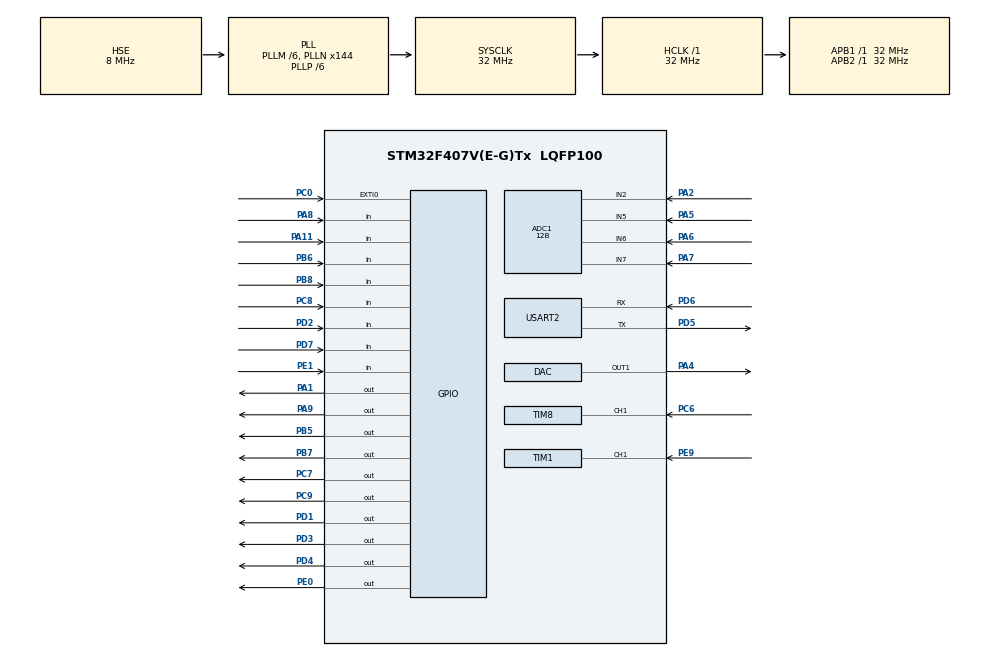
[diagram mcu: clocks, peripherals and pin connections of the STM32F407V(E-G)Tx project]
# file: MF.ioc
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ADC1.Channel-0\#ChannelRegularConversion=ADC_CHANNEL_2
ADC1.Channel-1\#ChannelRegularConversion=ADC_CHANNEL_5
ADC1.Channel-2\#ChannelRegularConversion=ADC_CHANNEL_6
ADC1.Channel-3\#ChannelRegularConversion=ADC_CHANNEL_7
ADC1.ClockPrescaler=ADC_CLOCK_SYNC_PCLK_DIV8
ADC1.ContinuousConvMode=ENABLE
ADC1.DMAContinuousRequests=ENABLE
ADC1.DataAlign=ADC_DATAALIGN_RIGHT
ADC1.DiscontinuousConvMode=DISABLE
ADC1.EOCSelection=ADC_EOC_SINGLE_CONV
ADC1.EnableAnalogWatchDog=false
ADC1.ExternalTrigConv=ADC_SOFTWARE_START
ADC1.ExternalTrigConvEdge=ADC_EXTERNALTRIGCONVEDGE_NONE
ADC1.InjNumberOfConversion=0
ADC1.NbrOfConversion=4
ADC1.NbrOfConversionFlag=1
ADC1.Rank-0\#ChannelRegularConversion=1
ADC1.Rank-1\#ChannelRegularConversion=2
ADC1.Rank-2\#ChannelRegularConversion=3
ADC1.Rank-3\#ChannelRegularConversion=4
ADC1.Resolution=ADC_RESOLUTION_12B
ADC1.SamplingTime-0\#ChannelRegularConversion=ADC_SAMPLETIME_480CYCLES
ADC1.SamplingTime-1\#ChannelRegularConversion=ADC_SAMPLETIME_480CYCLES
ADC1.SamplingTime-2\#ChannelRegularConversion=ADC_SAMPLETIME_480CYCLES
ADC1.SamplingTime-3\#ChannelRegularConversion=ADC_SAMPLETIME_480CYCLES
ADC1.ScanConvMode=ENABLE
ADC1.master=1
Dma.ADC1.0.Direction=DMA_PERIPH_TO_MEMORY
Dma.ADC1.0.FIFOMode=DMA_FIFOMODE_DISABLE
Dma.ADC1.0.Instance=DMA2_Stream0
Dma.ADC1.0.MemDataAlignment=DMA_MDATAALIGN_WORD
Dma.ADC1.0.MemInc=DMA_MINC_ENABLE
Dma.ADC1.0.Mode=DMA_CIRCULAR
Dma.ADC1.0.PeriphDataAlignment=DMA_PDATAALIGN_WORD
Dma.ADC1.0.PeriphInc=DMA_PINC_DISABLE
Dma.ADC1.0.Priority=DMA_PRIORITY_HIGH
Dma.Request0=ADC1
IWDG.Prescaler=IWDG_PRESCALER_64
IWDG.Reload=2500
Mcu.Family=STM32F4
Mcu.Name=STM32F407V(E-G)Tx
Mcu.Package=LQFP100
NVIC.DMA2_Stream0_IRQn=true\:2\:0\:true\:true\:true\:6
NVIC.EXTI0_IRQn=true\:1\:0\:true\:true\:true\:1
NVIC.PriorityGroup=NVIC_PRIORITYGROUP_2
NVIC.RTC_WKUP_IRQn=true\:2\:0\:true\:true\:true\:2
NVIC.TIM4_IRQn=true\:2\:0\:true\:true\:true\:3
NVIC.TIM5_IRQn=true\:2\:0\:true\:true\:true\:5
NVIC.USART2_IRQn=true\:2\:0\:true\:true\:true\:4
PA1.Signal=GPIO_Output
PA11.Signal=GPIO_Input
PA2.Signal=ADCx_IN2
PA4.Signal=COMP_DAC1_group
PA5.Signal=ADCx_IN5
PA6.Signal=ADCx_IN6
PA7.Signal=ADCx_IN7
PA8.Signal=GPIO_Input
PA9.Signal=GPIO_Output
PB5.Signal=GPIO_Output
PB6.Signal=GPIO_Input
PB7.Signal=GPIO_Output
PB8.Signal=GPIO_Input
PC0.GPIO_ModeDefaultEXTI=GPIO_MODE_IT_FALLING
PC0.Signal=GPXTI0
PC14-OSC32_IN.Mode=LSE-External-Oscillator
PC14-OSC32_IN.Signal=RCC_OSC32_IN
PC15-OSC32_OUT.Mode=LSE-External-Oscillator
PC15-OSC32_OUT.Signal=RCC_OSC32_OUT
PC6.Signal=S_TIM8_CH1
PC7.Signal=GPIO_Output
PC8.Signal=GPIO_Input
PC9.Signal=GPIO_Output
PD1.Signal=GPIO_Output
PD2.Signal=GPIO_Input
PD3.Signal=GPIO_Output
PD4.GPIO_PuPd=GPIO_NOPULL
PD4.GPIO_Speed=GPIO_SPEED_FREQ_HIGH
PD4.Signal=GPIO_Output
PD5.Mode=Asynchronous
PD5.Signal=USART2_TX
PD6.Mode=Asynchronous
PD6.Signal=USART2_RX
PD7.Signal=GPIO_Input
PE0.Signal=GPIO_Output
PE1.Signal=GPIO_Input
PE9.Signal=S_TIM1_CH1
PH0-OSC_IN.Mode=HSE-External-Oscillator
PH0-OSC_IN.Signal=RCC_OSC_IN
PH1-OSC_OUT.Mode=HSE-External-Oscillator
PH1-OSC_OUT.Signal=RCC_OSC_OUT
ProjectManager.HeapSize=0x200
ProjectManager.StackSize=0x400
ProjectManager.TargetToolchain=EWARM
RCC.48MHZClocksFreq_Value=48000000
RCC.AHBFreq_Value=32000000
RCC.APB1Freq_Value=32000000
RCC.APB1TimFreq_Value=32000000
RCC.APB2Freq_Value=32000000
RCC.APB2TimFreq_Value=32000000
RCC.CortexFreq_Value=32000000
RCC.HCLKFreq_Value=32000000
RCC.HSE_VALUE=8000000
RCC.HSI_VALUE=16000000
RCC.PLLM=6
RCC.PLLN=144
RCC.PLLP=RCC_PLLP_DIV6
RCC.PLLSourceVirtual=RCC_PLLSOURCE_HSE
RCC.RCC_RTC_Clock_Source=RCC_RTCCLKSOURCE_LSE
RCC.RCC_RTC_Clock_SourceVirtual=RCC_RTCCLKSOURCE_LSE
RCC.SYSCLKFreq_VALUE=32000000
RCC.SYSCLKSource=RCC_SYSCLKSOURCE_PLLCLK
RCC.VCOOutputFreq_Value=192000000
RTC.WakeUpClock=RTC_WAKEUPCLOCK_CK_SPRE_16BITS
SH.ADCx_IN2.0=ADC1_IN2,IN2
SH.ADCx_IN5.0=ADC1_IN5,IN5
SH.ADCx_IN6.0=ADC1_IN6,IN6
SH.ADCx_IN7.0=ADC1_IN7,IN7
SH.COMP_DAC1_group.0=DAC_OUT1,DAC_OUT1
SH.S_TIM1_CH1.0=TIM1_CH1,Input_Capture1_from_TI1
SH.S_TIM1_CH1.1=TIM1_CH1,TriggerSource_TI1FP1
SH.S_TIM8_CH1.0=TIM8_CH1,Input_Capture1_from_TI1
SH.S_TIM8_CH1.1=TIM8_CH1,TriggerSource_TI1FP1
TIM1.ICPolarity_CH1=TIM_INPUTCHANNELPOLARITY_FALLING
TIM1.Period=65535
TIM1.Prescaler=128
TIM1.TIM_MasterOutputTrigger=TIM_TRGO_RESET
TIM1.TIM_MasterSlaveMode=TIM_MASTERSLAVEMODE_DISABLE
TIM8.ICPolarity_CH1=TIM_INPUTCHANNELPOLARITY_FALLING
TIM8.Period=65535
TIM8.Prescaler=128
VP_IWDG_VS_IWDG.Mode=IWDG_Activate
VP_RTC_VS_RTC_Activate.Mode=RTC_Enabled
VP_RTC_VS_RTC_Calendar.Mode=RTC_Calendar
VP_RTC_VS_RTC_WakeUp_intern.Mode=WakeUp
VP_TIM1_VS_ControllerModeReset.Mode=Reset Mode
VP_TIM4_VS_ClockSourceINT.Mode=Internal
VP_TIM5_VS_ClockSourceINT.Mode=Internal
VP_TIM8_VS_ControllerModeReset.Mode=Reset Mode
board=MF

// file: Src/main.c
/**
  ******************************************************************************
  * File Name          : main.c
  * Description        : Main program body
  ******************************************************************************
  *
  * COPYRIGHT(c) 2017 STMicroelectronics
  *
  * Redistribution and use in source and binary forms, with or without modification,
  * are permitted provided that the following conditions are met:
  *   1. Redistributions of source code must retain the above copyright notice,
  *      this list of conditions and the following disclaimer.
  *   2. Redistributions in binary form must reproduce the above copyright notice,
  *      this list of conditions and the following disclaimer in the documentation
  *      and/or other materials provided with the distribution.
  *   3. Neither the name of STMicroelectronics nor the names of its contributors
  *      may be used to endorse or promote products derived from this software
  *      without specific prior written permission.
  *
  * THIS SOFTWARE IS PROVIDED BY THE COPYRIGHT HOLDERS AND CONTRIBUTORS "AS IS"
  * AND ANY EXPRESS OR IMPLIED WARRANTIES, INCLUDING, BUT NOT LIMITED TO, THE
  * IMPLIED WARRANTIES OF MERCHANTABILITY AND FITNESS FOR A PARTICULAR PURPOSE ARE
  * DISCLAIMED. IN NO EVENT SHALL THE COPYRIGHT HOLDER OR CONTRIBUTORS BE LIABLE
  * FOR ANY DIRECT, INDIRECT, INCIDENTAL, SPECIAL, EXEMPLARY, OR CONSEQUENTIAL
  * DAMAGES (INCLUDING, BUT NOT LIMITED TO, PROCUREMENT OF SUBSTITUTE GOODS OR
  * SERVICES; LOSS OF USE, DATA, OR PROFITS; OR BUSINESS INTERRUPTION) HOWEVER
  * CAUSED AND ON ANY THEORY OF LIABILITY, WHETHER IN CONTRACT, STRICT LIABILITY,
  * OR TORT (INCLUDING NEGLIGENCE OR OTHERWISE) ARISING IN ANY WAY OUT OF THE USE
  * OF THIS SOFTWARE, EVEN IF ADVISED OF THE POSSIBILITY OF SUCH DAMAGE.
  *
  ******************************************************************************
  */
#include "main.h"
#include "stm32f4xx_hal.h"

/* USER CODE BEGIN Includes */
#include "Modbus.h"
/* USER CODE END Includes */

ADC_HandleTypeDef hadc1;
DMA_HandleTypeDef hdma_adc1;

DAC_HandleTypeDef hdac;

IWDG_HandleTypeDef hiwdg;

RTC_HandleTypeDef hrtc;

TIM_HandleTypeDef htim1;
TIM_HandleTypeDef htim4;
TIM_HandleTypeDef htim5;
TIM_HandleTypeDef htim8;

UART_HandleTypeDef huart2;

/* USER CODE BEGIN PV */
/* Private variables ---------------------------------------------------------*/
extern USHORT usRegInputBuf[];
extern UCHAR  usRegDiscreteInput;
extern USHORT usRegHoldingBuf[];

uint32_t MotoTime1,MotoTime2,OperTime;
uint32_t  ActiveSecAdr;
uint16_t Counts[NumCount];
uint8_t  flag_ovf,WriteTimeEn=0;
uint16_t ADCValue[ADCNUMCH];
float X[NUMPARAM][3],Y[NUMPARAM][3];
uint8_t SysReset=RESET;

/* USER CODE END PV */

void SystemClock_Config(void);
void Error_Handler(void);
static void MX_GPIO_Init(void);
static void MX_DMA_Init(void);
static void MX_RTC_Init(void);
static void MX_USART2_UART_Init(void);
static void MX_TIM4_Init(void);
static void MX_TIM1_Init(void);
static void MX_TIM8_Init(void);
static void MX_ADC1_Init(void);
static void MX_DAC_Init(void);
static void MX_TIM5_Init(void);
static void MX_IWDG_Init(void);
static void MX_NVIC_Init(void);

/* USER CODE BEGIN PFP */
/* Private function prototypes -----------------------------------------------*/
uint32_t FLASHRead(uint32_t address);
void FLASHTimeRead(void);
void FLASHHOLDWrite(uint16_t *data);
void FLASHTimeWrite(void);

void TimeControlInit(void);
void DMAADC_Init(void);
uint16_t Filter (uint16_t unfiltered,uint16_t CHFilter);
/* USER CODE END PFP */

/* USER CODE BEGIN 0 */
unsigned short GetConvertmV(unsigned short ADCVal)
{
  #define REFVal  0.61035// 2500/4096 Reference value (mV/ADC)
  #define RESDiv 13.13334//(910+75)/75 Resistor divider
  float temp=(float)ADCVal;
  temp*=REFVal;
  temp*=RESDiv;

  return (unsigned short)temp;
}

 /* Convert ADC ampermeter to A*10E-4. */
unsigned short GetConvertA(unsigned short ADCVal,uint16_t uOhm)
{
  #define REFVal  0.61035// 2500/4096 Reference value (mV/ADC)
  #define GAmp  2// GAIN Amp
  float temp=(float)ADCVal,mOhm=(float)uOhm;
  mOhm/=1000;
  temp*=REFVal;
  temp/=GAmp;
  if(uOhm==0) return 0;
  temp/=mOhm;
  if(temp>MAXVALUE) temp=MAXVALUE;

 /*
  switch (Typ){
  case 1:       temp=temp/5;         break;//Type shunt 10A 50mV
  case 2:       temp=(temp*8)/5;     break;//Type shunt 80A 50mV
  default:                           break;//Type shunt 50A 50mV
  }
  */
  return (unsigned short)temp;
}

uint16_t rounding(uint16_t value)
{
  value+=25;//average 25 mV
  value/=50;
  value*=50;
  return value;
}

/* USER CODE END 0 */

int main(void)
{

  /* USER CODE BEGIN 1 */
  const UCHAR     ucSlaveID[] = { 0xAA, 0xBB, 0xCC };
  eMBErrorCode    eStatus;
  uint8_t RKIConf=0;//All RK in Push-down default
  uint32_t TimeOutRPM1 = TIMEOUTRPM;
  uint32_t TimeOutRPM2 = TIMEOUTRPM;
  uint16_t dHZ1Value = 0, dHZ2Value = 0;
  uint16_t RPM1Value = 0, RPM2Value = 0;
  /* USER CODE END 1 */

  /* MCU Configuration----------------------------------------------------------*/

  /* Reset of all peripherals, Initializes the Flash interface and the Systick. */
  HAL_Init();

  /* Configure the system clock */
  SystemClock_Config();

  /* Initialize all configured peripherals */
  MX_GPIO_Init();
  MX_DMA_Init();
  MX_RTC_Init();
  MX_USART2_UART_Init();
  MX_TIM4_Init();
  MX_TIM1_Init();
  MX_TIM8_Init();
  MX_ADC1_Init();
  MX_DAC_Init();
  MX_TIM5_Init();
  MX_IWDG_Init();

  /* Initialize interrupts */
  MX_NVIC_Init();

  /* USER CODE BEGIN 2 */
  LedON();

  ReadParam();
  FLASHTimeRead();
  eStatus = eMBInit( MB_RTU, MBAdressDefault, 0,
            MBSpeedDefault*100,
            MBParityDefault );
  eStatus = eMBSetSlaveID( 0x34, TRUE, ucSlaveID, 3 );

  TimeControlInit();

  RKIConf=(uint8_t)usRegHoldingBuf[REG_HOLDING_RKICONFIG];
  RKInit(RKIConf);
  HAL_TIM_IC_Init(&TIMRPM1);
  HAL_TIM_IC_Init(&TIMRPM2);
  /* USER CODE END 2 */

  /* Infinite loop */
  /* USER CODE BEGIN WHILE */
  eStatus = eMBEnable(  );
  HAL_TIM_IC_Start (&TIMRPM1, TIM_CHANNEL_1);
  HAL_TIM_IC_Start (&TIMRPM2, TIM_CHANNEL_1);
  __HAL_TIM_URS_ENABLE(&TIMRPM1);
  __HAL_TIM_URS_ENABLE(&TIMRPM2);

  DMAADC_Init();
  HAL_ADC_Start_DMA(&hadc1, (uint32_t*)&ADCValue, ADCNUMCH);
  set_time(TIME_DEFFERWRITE,500);
  usRegInputBuf[REG_INPUT_STATUS]=0x03FF;//0b0000 0011 1111 1111

  while (1)
  {

    ( void )eMBPoll(  );
    HAL_IWDG_Refresh(&hiwdg);
    usRegDiscreteInput=RKRead(RKIConf);
    RPM1Value=PRMRead(TIMRPM1,&dHZ1Value,&TimeOutRPM1,usRegHoldingBuf[REG_HOLDING_DIVRPM1]);
    RPM2Value=PRMRead(TIMRPM2,&dHZ2Value,&TimeOutRPM2,usRegHoldingBuf[REG_HOLDING_DIVRPM2]);

    if(time_ovf(TIME_FILTER)){
      set_time(TIME_FILTER,3);
      usRegInputBuf[REG_INPUT_V1]=rounding(Filter(GetConvertmV(ADCValue[ADCCHV1]),FilV1));
      usRegInputBuf[REG_INPUT_V2]=rounding(Filter(GetConvertmV(ADCValue[ADCCHV2]),FilV2));
      usRegInputBuf[REG_INPUT_A1]=Filter(GetConvertA(ADCValue[ADCCHA1],usRegHoldingBuf[REG_HOLDING_UOHMSHUNT1]),FilA1);
      usRegInputBuf[REG_INPUT_A2]=Filter(GetConvertA(ADCValue[ADCCHA2],usRegHoldingBuf[REG_HOLDING_UOHMSHUNT2]),FilA2);
    }

    if(time_ovf(TIME_FILTERRPM)){
      set_time(TIME_FILTERRPM,1);
      usRegInputBuf[REG_INPUT_RPM1]=Filter(RPM1Value,FILRPM1);
      usRegInputBuf[REG_INPUT_RPM2]=Filter(RPM2Value,FILRPM2);
    }

    usRegInputBuf[REG_INPUT_MOTOTIME1]=         (uint16_t) (MotoTime1>>16);
    usRegInputBuf[REG_INPUT_MOTOTIME1+1]=       (uint16_t) (MotoTime1);
    usRegInputBuf[REG_INPUT_MOTOTIME2]=         (uint16_t) (MotoTime2>>16);
    usRegInputBuf[REG_INPUT_MOTOTIME2+1]=       (uint16_t) (MotoTime2);
    usRegInputBuf[REG_INPUT_OPERTIME]=          (uint16_t) (OperTime>>16);
    usRegInputBuf[REG_INPUT_OPERTIME+1]=        (uint16_t) (OperTime);

    if(time_stopd(TIME_FILTER))         set_time(TIME_FILTER,3);
    if(time_stopd(TIME_FILTERRPM))      set_time(TIME_FILTERRPM,1);

    if(time_ovf(TIME_DEFFERWRITE)){
      clear_ovf(TIME_DEFFERWRITE);
      FLASHTimeWrite();
      WriteTimeEn=1;
    }
    if(SysReset==SET)
    {HAL_Delay(50); HAL_NVIC_SystemReset();}

    if(time_ovf(TIME_FLASHWRITE)){
      clear_ovf(TIME_FLASHWRITE);
      FLASHHOLDWrite((uint16_t*)&usRegHoldingBuf);
      HAL_NVIC_SystemReset();
    }

  /* USER CODE END WHILE */

  }

}

/** System Clock Configuration
*/
void SystemClock_Config(void)
{

  RCC_OscInitTypeDef RCC_OscInitStruct;
  RCC_ClkInitTypeDef RCC_ClkInitStruct;
  RCC_PeriphCLKInitTypeDef PeriphClkInitStruct;

    /**Configure the main internal regulator output voltage
    */
  __HAL_RCC_PWR_CLK_ENABLE();

  __HAL_PWR_VOLTAGESCALING_CONFIG(PWR_REGULATOR_VOLTAGE_SCALE1);

    /**Initializes the CPU, AHB and APB busses clocks
    */
  RCC_OscInitStruct.OscillatorType = RCC_OSCILLATORTYPE_LSI|RCC_OSCILLATORTYPE_HSE
                              |RCC_OSCILLATORTYPE_LSE;
  RCC_OscInitStruct.HSEState = RCC_HSE_ON;
  RCC_OscInitStruct.LSEState = RCC_LSE_ON;
  RCC_OscInitStruct.LSIState = RCC_LSI_ON;
  RCC_OscInitStruct.PLL.PLLState = RCC_PLL_ON;
  RCC_OscInitStruct.PLL.PLLSource = RCC_PLLSOURCE_HSE;
  RCC_OscInitStruct.PLL.PLLM = 6;
  RCC_OscInitStruct.PLL.PLLN = 144;
  RCC_OscInitStruct.PLL.PLLP = RCC_PLLP_DIV6;
  RCC_OscInitStruct.PLL.PLLQ = 4;
  if (HAL_RCC_OscConfig(&RCC_OscInitStruct) != HAL_OK)
  {
    Error_Handler();
  }

    /**Initializes the CPU, AHB and APB busses clocks
    */
  RCC_ClkInitStruct.ClockType = RCC_CLOCKTYPE_HCLK|RCC_CLOCKTYPE_SYSCLK
                              |RCC_CLOCKTYPE_PCLK1|RCC_CLOCKTYPE_PCLK2;
  RCC_ClkInitStruct.SYSCLKSource = RCC_SYSCLKSOURCE_PLLCLK;
  RCC_ClkInitStruct.AHBCLKDivider = RCC_SYSCLK_DIV1;
  RCC_ClkInitStruct.APB1CLKDivider = RCC_HCLK_DIV1;
  RCC_ClkInitStruct.APB2CLKDivider = RCC_HCLK_DIV1;

  if (HAL_RCC_ClockConfig(&RCC_ClkInitStruct, FLASH_LATENCY_1) != HAL_OK)
  {
    Error_Handler();
  }

  PeriphClkInitStruct.PeriphClockSelection = RCC_PERIPHCLK_RTC;
  PeriphClkInitStruct.RTCClockSelection = RCC_RTCCLKSOURCE_LSE;
  if (HAL_RCCEx_PeriphCLKConfig(&PeriphClkInitStruct) != HAL_OK)
  {
    Error_Handler();
  }

    /**Configure the Systick interrupt time
    */
  HAL_SYSTICK_Config(HAL_RCC_GetHCLKFreq()/1000);

    /**Configure the Systick
    */
  HAL_SYSTICK_CLKSourceConfig(SYSTICK_CLKSOURCE_HCLK);

  /* SysTick_IRQn interrupt configuration */
  HAL_NVIC_SetPriority(SysTick_IRQn, 0, 0);
}

/** NVIC Configuration
*/
static void MX_NVIC_Init(void)
{
  /* EXTI0_IRQn interrupt configuration */
  HAL_NVIC_SetPriority(EXTI0_IRQn, 1, 0);
  HAL_NVIC_EnableIRQ(EXTI0_IRQn);
  /* RTC_WKUP_IRQn interrupt configuration */
  HAL_NVIC_SetPriority(RTC_WKUP_IRQn, 2, 0);
  HAL_NVIC_EnableIRQ(RTC_WKUP_IRQn);
  /* TIM4_IRQn interrupt configuration */
  HAL_NVIC_SetPriority(TIM4_IRQn, 2, 0);
  HAL_NVIC_EnableIRQ(TIM4_IRQn);
  /* USART2_IRQn interrupt configuration */
  HAL_NVIC_SetPriority(USART2_IRQn, 2, 0);
  HAL_NVIC_EnableIRQ(USART2_IRQn);
  /* TIM5_IRQn interrupt configuration */
  HAL_NVIC_SetPriority(TIM5_IRQn, 2, 0);
  HAL_NVIC_EnableIRQ(TIM5_IRQn);
  /* DMA2_Stream0_IRQn interrupt configuration */
  HAL_NVIC_SetPriority(DMA2_Stream0_IRQn, 2, 0);
  HAL_NVIC_EnableIRQ(DMA2_Stream0_IRQn);
}

/* ADC1 init function */
static void MX_ADC1_Init(void)
{

  ADC_ChannelConfTypeDef sConfig;

    /**Configure the global features of the ADC (Clock, Resolution, Data Alignment and number of conversion)
    */
  hadc1.Instance = ADC1;
  hadc1.Init.ClockPrescaler = ADC_CLOCK_SYNC_PCLK_DIV8;
  hadc1.Init.Resolution = ADC_RESOLUTION_12B;
  hadc1.Init.ScanConvMode = ENABLE;
  hadc1.Init.ContinuousConvMode = ENABLE;
  hadc1.Init.DiscontinuousConvMode = DISABLE;
  hadc1.Init.ExternalTrigConvEdge = ADC_EXTERNALTRIGCONVEDGE_NONE;
  hadc1.Init.ExternalTrigConv = ADC_SOFTWARE_START;
  hadc1.Init.DataAlign = ADC_DATAALIGN_RIGHT;
  hadc1.Init.NbrOfConversion = 4;
  hadc1.Init.DMAContinuousRequests = ENABLE;
  hadc1.Init.EOCSelection = ADC_EOC_SINGLE_CONV;
  if (HAL_ADC_Init(&hadc1) != HAL_OK)
  {
    Error_Handler();
  }

    /**Configure for the selected ADC regular channel its corresponding rank in the sequencer and its sample time.
    */
  sConfig.Channel = ADC_CHANNEL_2;
  sConfig.Rank = 1;
  sConfig.SamplingTime = ADC_SAMPLETIME_480CYCLES;
  if (HAL_ADC_ConfigChannel(&hadc1, &sConfig) != HAL_OK)
  {
    Error_Handler();
  }

    /**Configure for the selected ADC regular channel its corresponding rank in the sequencer and its sample time.
    */
  sConfig.Channel = ADC_CHANNEL_5;
  sConfig.Rank = 2;
  if (HAL_ADC_ConfigChannel(&hadc1, &sConfig) != HAL_OK)
  {
    Error_Handler();
  }

    /**Configure for the selected ADC regular channel its corresponding rank in the sequencer and its sample time.
    */
  sConfig.Channel = ADC_CHANNEL_6;
  sConfig.Rank = 3;
  if (HAL_ADC_ConfigChannel(&hadc1, &sConfig) != HAL_OK)
  {
    Error_Handler();
  }

    /**Configure for the selected ADC regular channel its corresponding rank in the sequencer and its sample time.
    */
  sConfig.Channel = ADC_CHANNEL_7;
  sConfig.Rank = 4;
  if (HAL_ADC_ConfigChannel(&hadc1, &sConfig) != HAL_OK)
  {
    Error_Handler();
  }

}

/* DAC init function */
static void MX_DAC_Init(void)
{

  DAC_ChannelConfTypeDef sConfig;

    /**DAC Initialization
    */
  hdac.Instance = DAC;
  if (HAL_DAC_Init(&hdac) != HAL_OK)
  {
    Error_Handler();
  }

    /**DAC channel OUT1 config
    */
  sConfig.DAC_Trigger = DAC_TRIGGER_NONE;
  sConfig.DAC_OutputBuffer = DAC_OUTPUTBUFFER_ENABLE;
  if (HAL_DAC_ConfigChannel(&hdac, &sConfig, DAC_CHANNEL_1) != HAL_OK)
  {
    Error_Handler();
  }

}

/* IWDG init function */
static void MX_IWDG_Init(void)
{

  hiwdg.Instance = IWDG;
  hiwdg.Init.Prescaler = IWDG_PRESCALER_64;
  hiwdg.Init.Reload = 2500;
  if (HAL_IWDG_Init(&hiwdg) != HAL_OK)
  {
    Error_Handler();
  }

}

/* RTC init function */
static void MX_RTC_Init(void)
{

  RTC_TimeTypeDef sTime;
  RTC_DateTypeDef sDate;

    /**Initialize RTC Only
    */
  hrtc.Instance = RTC;
  hrtc.Init.HourFormat = RTC_HOURFORMAT_24;
  hrtc.Init.AsynchPrediv = 127;
  hrtc.Init.SynchPrediv = 255;
  hrtc.Init.OutPut = RTC_OUTPUT_DISABLE;
  hrtc.Init.OutPutPolarity = RTC_OUTPUT_POLARITY_HIGH;
  hrtc.Init.OutPutType = RTC_OUTPUT_TYPE_OPENDRAIN;
  if (HAL_RTC_Init(&hrtc) != HAL_OK)
  {
    Error_Handler();
  }

    /**Initialize RTC and set the Time and Date
    */
  sTime.Hours = 0x0;
  sTime.Minutes = 0x0;
  sTime.Seconds = 0x0;
  sTime.DayLightSaving = RTC_DAYLIGHTSAVING_NONE;
  sTime.StoreOperation = RTC_STOREOPERATION_RESET;
  if (HAL_RTC_SetTime(&hrtc, &sTime, RTC_FORMAT_BCD) != HAL_OK)
  {
    Error_Handler();
  }

  sDate.WeekDay = RTC_WEEKDAY_MONDAY;
  sDate.Month = RTC_MONTH_JANUARY;
  sDate.Date = 0x1;
  sDate.Year = 0x0;

  if (HAL_RTC_SetDate(&hrtc, &sDate, RTC_FORMAT_BCD) != HAL_OK)
  {
    Error_Handler();
  }

    /**Enable the WakeUp
    */
  if (HAL_RTCEx_SetWakeUpTimer_IT(&hrtc, 0, RTC_WAKEUPCLOCK_CK_SPRE_16BITS) != HAL_OK)
  {
    Error_Handler();
  }

}

/* TIM1 init function */
static void MX_TIM1_Init(void)
{

  TIM_SlaveConfigTypeDef sSlaveConfig;
  TIM_MasterConfigTypeDef sMasterConfig;
  TIM_IC_InitTypeDef sConfigIC;

  htim1.Instance = TIM1;
  htim1.Init.Prescaler = 128;
  htim1.Init.CounterMode = TIM_COUNTERMODE_UP;
  htim1.Init.Period = 65535;
  htim1.Init.ClockDivision = TIM_CLOCKDIVISION_DIV1;
  htim1.Init.RepetitionCounter = 0;
  if (HAL_TIM_Base_Init(&htim1) != HAL_OK)
  {
    Error_Handler();
  }

  if (HAL_TIM_IC_Init(&htim1) != HAL_OK)
  {
    Error_Handler();
  }

  sSlaveConfig.SlaveMode = TIM_SLAVEMODE_RESET;
  sSlaveConfig.InputTrigger = TIM_TS_TI1FP1;
  sSlaveConfig.TriggerPolarity = TIM_INPUTCHANNELPOLARITY_FALLING;
  sSlaveConfig.TriggerFilter = 0;
  if (HAL_TIM_SlaveConfigSynchronization(&htim1, &sSlaveConfig) != HAL_OK)
  {
    Error_Handler();
  }

  sMasterConfig.MasterOutputTrigger = TIM_TRGO_RESET;
  sMasterConfig.MasterSlaveMode = TIM_MASTERSLAVEMODE_DISABLE;
  if (HAL_TIMEx_MasterConfigSynchronization(&htim1, &sMasterConfig) != HAL_OK)
  {
    Error_Handler();
  }

  sConfigIC.ICPolarity = TIM_INPUTCHANNELPOLARITY_FALLING;
  sConfigIC.ICSelection = TIM_ICSELECTION_DIRECTTI;
  sConfigIC.ICPrescaler = TIM_ICPSC_DIV1;
  sConfigIC.ICFilter = 0;
  if (HAL_TIM_IC_ConfigChannel(&htim1, &sConfigIC, TIM_CHANNEL_1) != HAL_OK)
  {
    Error_Handler();
  }

}

/* TIM4 init function */
static void MX_TIM4_Init(void)
{

  TIM_ClockConfigTypeDef sClockSourceConfig;
  TIM_MasterConfigTypeDef sMasterConfig;

  htim4.Instance = TIM4;
  htim4.Init.Prescaler = 0;
  htim4.Init.CounterMode = TIM_COUNTERMODE_UP;
  htim4.Init.Period = 0;
  htim4.Init.ClockDivision = TIM_CLOCKDIVISION_DIV1;
  if (HAL_TIM_Base_Init(&htim4) != HAL_OK)
  {
    Error_Handler();
  }

  sClockSourceConfig.ClockSource = TIM_CLOCKSOURCE_INTERNAL;
  if (HAL_TIM_ConfigClockSource(&htim4, &sClockSourceConfig) != HAL_OK)
  {
    Error_Handler();
  }

  sMasterConfig.MasterOutputTrigger = TIM_TRGO_RESET;
  sMasterConfig.MasterSlaveMode = TIM_MASTERSLAVEMODE_DISABLE;
  if (HAL_TIMEx_MasterConfigSynchronization(&htim4, &sMasterConfig) != HAL_OK)
  {
    Error_Handler();
  }

}

/* TIM5 init function */
static void MX_TIM5_Init(void)
{

  TIM_ClockConfigTypeDef sClockSourceConfig;
  TIM_MasterConfigTypeDef sMasterConfig;

  htim5.Instance = TIM5;
  htim5.Init.Prescaler = 0;
  htim5.Init.CounterMode = TIM_COUNTERMODE_UP;
  htim5.Init.Period = 0;
  htim5.Init.ClockDivision = TIM_CLOCKDIVISION_DIV1;
  if (HAL_TIM_Base_Init(&htim5) != HAL_OK)
  {
    Error_Handler();
  }

  sClockSourceConfig.ClockSource = TIM_CLOCKSOURCE_INTERNAL;
  if (HAL_TIM_ConfigClockSource(&htim5, &sClockSourceConfig) != HAL_OK)
  {
    Error_Handler();
  }

  sMasterConfig.MasterOutputTrigger = TIM_TRGO_RESET;
  sMasterConfig.MasterSlaveMode = TIM_MASTERSLAVEMODE_DISABLE;
  if (HAL_TIMEx_MasterConfigSynchronization(&htim5, &sMasterConfig) != HAL_OK)
  {
    Error_Handler();
  }

}

/* TIM8 init function */
static void MX_TIM8_Init(void)
{

  TIM_SlaveConfigTypeDef sSlaveConfig;
  TIM_MasterConfigTypeDef sMasterConfig;
  TIM_IC_InitTypeDef sConfigIC;

  htim8.Instance = TIM8;
  htim8.Init.Prescaler = 128;
  htim8.Init.CounterMode = TIM_COUNTERMODE_UP;
  htim8.Init.Period = 65535;
  htim8.Init.ClockDivision = TIM_CLOCKDIVISION_DIV1;
  htim8.Init.RepetitionCounter = 0;
  if (HAL_TIM_Base_Init(&htim8) != HAL_OK)
  {
    Error_Handler();
  }

  if (HAL_TIM_IC_Init(&htim8) != HAL_OK)
  {
    Error_Handler();
  }

  sSlaveConfig.SlaveMode = TIM_SLAVEMODE_RESET;
  sSlaveConfig.InputTrigger = TIM_TS_TI1FP1;
  sSlaveConfig.TriggerPolarity = TIM_INPUTCHANNELPOLARITY_FALLING;
  sSlaveConfig.TriggerFilter = 0;
  if (HAL_TIM_SlaveConfigSynchronization(&htim8, &sSlaveConfig) != HAL_OK)
  {
    Error_Handler();
  }

  sMasterConfig.MasterOutputTrigger = TIM_TRGO_RESET;
  sMasterConfig.MasterSlaveMode = TIM_MASTERSLAVEMODE_DISABLE;
  if (HAL_TIMEx_MasterConfigSynchronization(&htim8, &sMasterConfig) != HAL_OK)
  {
    Error_Handler();
  }

  sConfigIC.ICPolarity = TIM_INPUTCHANNELPOLARITY_FALLING;
  sConfigIC.ICSelection = TIM_ICSELECTION_DIRECTTI;
  sConfigIC.ICPrescaler = TIM_ICPSC_DIV1;
  sConfigIC.ICFilter = 0;
  if (HAL_TIM_IC_ConfigChannel(&htim8, &sConfigIC, TIM_CHANNEL_1) != HAL_OK)
  {
    Error_Handler();
  }

}

/* USART2 init function */
static void MX_USART2_UART_Init(void)
{

  huart2.Instance = USART2;
  huart2.Init.BaudRate = 115200;
  huart2.Init.WordLength = UART_WORDLENGTH_8B;
  huart2.Init.StopBits = UART_STOPBITS_1;
  huart2.Init.Parity = UART_PARITY_NONE;
  huart2.Init.Mode = UART_MODE_TX_RX;
  huart2.Init.HwFlowCtl = UART_HWCONTROL_NONE;
  huart2.Init.OverSampling = UART_OVERSAMPLING_16;
  if (HAL_UART_Init(&huart2) != HAL_OK)
  {
    Error_Handler();
  }

}

static void MX_DMA_Init(void)
{
  /* DMA controller clock enable */
  __HAL_RCC_DMA2_CLK_ENABLE();

}

/** Configure pins as
        * Analog
        * Input
        * Output
        * EVENT_OUT
        * EXTI
*/
static void MX_GPIO_Init(void)
{

  GPIO_InitTypeDef GPIO_InitStruct;

  /* GPIO Ports Clock Enable */
  __HAL_RCC_GPIOC_CLK_ENABLE();
  __HAL_RCC_GPIOH_CLK_ENABLE();
  __HAL_RCC_GPIOA_CLK_ENABLE();
  __HAL_RCC_GPIOE_CLK_ENABLE();
  __HAL_RCC_GPIOD_CLK_ENABLE();
  __HAL_RCC_GPIOB_CLK_ENABLE();

  /*Configure GPIO pin Output Level */
  HAL_GPIO_WritePin(GPIOA, GPIO_PIN_1|GPIO_PIN_9, GPIO_PIN_RESET);

  /*Configure GPIO pin Output Level */
  HAL_GPIO_WritePin(GPIOC, GPIO_PIN_7|GPIO_PIN_9, GPIO_PIN_RESET);

  /*Configure GPIO pin Output Level */
  HAL_GPIO_WritePin(GPIOD, GPIO_PIN_1|GPIO_PIN_3|GPIO_PIN_4, GPIO_PIN_RESET);

  /*Configure GPIO pin Output Level */
  HAL_GPIO_WritePin(GPIOB, GPIO_PIN_5|GPIO_PIN_7, GPIO_PIN_RESET);

  /*Configure GPIO pin Output Level */
  HAL_GPIO_WritePin(GPIOE, GPIO_PIN_0, GPIO_PIN_RESET);

  /*Configure GPIO pin : PC0 */
  GPIO_InitStruct.Pin = GPIO_PIN_0;
  GPIO_InitStruct.Mode = GPIO_MODE_IT_FALLING;
  GPIO_InitStruct.Pull = GPIO_NOPULL;
  HAL_GPIO_Init(GPIOC, &GPIO_InitStruct);

  /*Configure GPIO pins : PA1 PA9 */
  GPIO_InitStruct.Pin = GPIO_PIN_1|GPIO_PIN_9;
  GPIO_InitStruct.Mode = GPIO_MODE_OUTPUT_PP;
  GPIO_InitStruct.Pull = GPIO_NOPULL;
  GPIO_InitStruct.Speed = GPIO_SPEED_FREQ_LOW;
  HAL_GPIO_Init(GPIOA, &GPIO_InitStruct);

  /*Configure GPIO pins : PC7 PC9 */
  GPIO_InitStruct.Pin = GPIO_PIN_7|GPIO_PIN_9;
  GPIO_InitStruct.Mode = GPIO_MODE_OUTPUT_PP;
  GPIO_InitStruct.Pull = GPIO_NOPULL;
  GPIO_InitStruct.Speed = GPIO_SPEED_FREQ_LOW;
  HAL_GPIO_Init(GPIOC, &GPIO_InitStruct);

  /*Configure GPIO pin : PC8 */
  GPIO_InitStruct.Pin = GPIO_PIN_8;
  GPIO_InitStruct.Mode = GPIO_MODE_INPUT;
  GPIO_InitStruct.Pull = GPIO_NOPULL;
  HAL_GPIO_Init(GPIOC, &GPIO_InitStruct);

  /*Configure GPIO pins : PA8 PA11 */
  GPIO_InitStruct.Pin = GPIO_PIN_8|GPIO_PIN_11;
  GPIO_InitStruct.Mode = GPIO_MODE_INPUT;
  GPIO_InitStruct.Pull = GPIO_NOPULL;
  HAL_GPIO_Init(GPIOA, &GPIO_InitStruct);

  /*Configure GPIO pins : PD1 PD3 */
  GPIO_InitStruct.Pin = GPIO_PIN_1|GPIO_PIN_3;
  GPIO_InitStruct.Mode = GPIO_MODE_OUTPUT_PP;
  GPIO_InitStruct.Pull = GPIO_NOPULL;
  GPIO_InitStruct.Speed = GPIO_SPEED_FREQ_LOW;
  HAL_GPIO_Init(GPIOD, &GPIO_InitStruct);

  /*Configure GPIO pins : PD2 PD7 */
  GPIO_InitStruct.Pin = GPIO_PIN_2|GPIO_PIN_7;
  GPIO_InitStruct.Mode = GPIO_MODE_INPUT;
  GPIO_InitStruct.Pull = GPIO_NOPULL;
  HAL_GPIO_Init(GPIOD, &GPIO_InitStruct);

  /*Configure GPIO pin : PD4 */
  GPIO_InitStruct.Pin = GPIO_PIN_4;
  GPIO_InitStruct.Mode = GPIO_MODE_OUTPUT_PP;
  GPIO_InitStruct.Pull = GPIO_NOPULL;
  GPIO_InitStruct.Speed = GPIO_SPEED_FREQ_HIGH;
  HAL_GPIO_Init(GPIOD, &GPIO_InitStruct);

  /*Configure GPIO pins : PB5 PB7 */
  GPIO_InitStruct.Pin = GPIO_PIN_5|GPIO_PIN_7;
  GPIO_InitStruct.Mode = GPIO_MODE_OUTPUT_PP;
  GPIO_InitStruct.Pull = GPIO_NOPULL;
  GPIO_InitStruct.Speed = GPIO_SPEED_FREQ_LOW;
  HAL_GPIO_Init(GPIOB, &GPIO_InitStruct);

  /*Configure GPIO pins : PB6 PB8 */
  GPIO_InitStruct.Pin = GPIO_PIN_6|GPIO_PIN_8;
  GPIO_InitStruct.Mode = GPIO_MODE_INPUT;
  GPIO_InitStruct.Pull = GPIO_NOPULL;
  HAL_GPIO_Init(GPIOB, &GPIO_InitStruct);

  /*Configure GPIO pin : PE0 */
  GPIO_InitStruct.Pin = GPIO_PIN_0;
  GPIO_InitStruct.Mode = GPIO_MODE_OUTPUT_PP;
  GPIO_InitStruct.Pull = GPIO_NOPULL;
  GPIO_InitStruct.Speed = GPIO_SPEED_FREQ_LOW;
  HAL_GPIO_Init(GPIOE, &GPIO_InitStruct);

  /*Configure GPIO pin : PE1 */
  GPIO_InitStruct.Pin = GPIO_PIN_1;
  GPIO_InitStruct.Mode = GPIO_MODE_INPUT;
  GPIO_InitStruct.Pull = GPIO_NOPULL;
  HAL_GPIO_Init(GPIOE, &GPIO_InitStruct);

}

/* USER CODE BEGIN 4 */
uint32_t FLASHRead(uint32_t address) {return (*(__IO uint32_t*) address);}

void FLASHHOLDWrite(uint16_t *data)
{
  uint32_t SectorError = 0;
  uint32_t Address=FLASH_HOLD_START_ADDR;
  /*Variable used for Erase procedure*/

  static FLASH_EraseInitTypeDef EraseInitStruct;
  /* Unlock the Flash to enable the flash control register access *************/
  HAL_FLASH_Unlock();
    /* Fill EraseInit structure************************************************/
  EraseInitStruct.TypeErase   = FLASH_TYPEERASE_SECTORS;
  EraseInitStruct.VoltageRange = FLASH_VOLTAGE_RANGE_3;
  EraseInitStruct.Sector = FLASH_HOLD_SECTOR;
  EraseInitStruct.NbSectors = 1;
  HAL_FLASHEx_Erase(&EraseInitStruct, &SectorError);
  for (Address=FLASH_HOLD_DATA_ADDR;Address <= FLASH_HOLD_END_ADDR;Address += 4){
    HAL_FLASH_Program(FLASH_TYPEPROGRAM_WORD, Address, *data++);
  }

  HAL_FLASH_Lock();

}

void FLASHTimeWrite(void)
{
  uint32_t Error = 0;
  uint32_t Address;
  uint32_t OldSecAdr;
  uint8_t Ind;
  static FLASH_EraseInitTypeDef EraseInitStruct;

  EraseInitStruct.TypeErase   = FLASH_TYPEERASE_SECTORS;
  EraseInitStruct.VoltageRange = FLASH_VOLTAGE_RANGE_3;
  EraseInitStruct.NbSectors = 1;
  if(FLASHRead(FLASH_SECTOR2_START_ADDR+FLASH_CONTRDATA_ADDR)==ContrData) {EraseInitStruct.Sector = FLASH_SECTOR_3;ActiveSecAdr=FLASH_SECTOR3_START_ADDR;OldSecAdr=FLASH_SECTOR2_START_ADDR;}
  else                                                                    {EraseInitStruct.Sector = FLASH_SECTOR_2;ActiveSecAdr=FLASH_SECTOR2_START_ADDR;OldSecAdr=FLASH_SECTOR3_START_ADDR;}
  HAL_FLASH_Unlock();
  HAL_FLASHEx_Erase(&EraseInitStruct, &Error);

  if(Error == 0xFFFFFFFF){

    Address=ActiveSecAdr+FLASH_OLD_MOTOTIME1;

    HAL_FLASH_Program(FLASH_TYPEPROGRAM_WORD, ActiveSecAdr+FLASH_OLD_MOTOTIME1, MotoTime1);
    HAL_FLASH_Program(FLASH_TYPEPROGRAM_WORD, ActiveSecAdr+FLASH_OLD_MOTOTIME2, MotoTime2);
    HAL_FLASH_Program(FLASH_TYPEPROGRAM_WORD, ActiveSecAdr+FLASH_OLD_OPERTIME,  OperTime);

    HAL_FLASH_Program(FLASH_TYPEPROGRAM_WORD, ActiveSecAdr, ContrData);
    HAL_FLASH_Program(FLASH_TYPEPROGRAM_WORD, OldSecAdr, 0);

    //usRegInputBuf[REG_INPUT_STATUS]|=(1<<10);//Debug bit FLASHTimeWrite
  }
  HAL_FLASH_Lock();

}

void FLASHTimeRead(void)
{
  uint32_t SectorAdr;
  if(FLASHRead(FLASH_SECTOR2_START_ADDR+FLASH_CONTRDATA_ADDR)==ContrData) SectorAdr=FLASH_SECTOR2_START_ADDR;
  else                                                                    SectorAdr=FLASH_SECTOR3_START_ADDR;

  if(FLASHRead(SectorAdr+FLASH_NEW_CONTRDATA)==ContrData){
    MotoTime1=FLASHRead(SectorAdr+FLASH_NEW_MOTOTIME1);
    MotoTime2=FLASHRead(SectorAdr+FLASH_NEW_MOTOTIME2);
    OperTime=FLASHRead(SectorAdr+FLASH_NEW_OPERTIME);
  }
  else{
    if((MotoTime1=FLASHRead(SectorAdr+FLASH_OLD_MOTOTIME1))==0xFFFFFFFF)  MotoTime1=0;
    if((MotoTime2=FLASHRead(SectorAdr+FLASH_OLD_MOTOTIME2))==0xFFFFFFFF)  MotoTime2=0;
    if((OperTime= FLASHRead(SectorAdr+FLASH_OLD_OPERTIME))==0xFFFFFFFF)    OperTime=0;
  }
}

void HAL_RTCEx_WakeUpTimerEventCallback(RTC_HandleTypeDef *hrtc)
{
  if(usRegInputBuf[REG_INPUT_RPM1]>=usRegHoldingBuf[REG_HOLDING_THDRPM1])MotoTime1++;
  if(usRegInputBuf[REG_INPUT_RPM2]>=usRegHoldingBuf[REG_HOLDING_THDRPM2])MotoTime2++;
  OperTime++;
}

void HAL_GPIO_EXTI_Callback(uint16_t GPIO_Pin)
{
  switch(GPIO_Pin){
  case CHEKPWRPIN:
    if(WriteTimeEn){
      HAL_FLASH_Unlock();
      HAL_FLASH_Program(FLASH_TYPEPROGRAM_WORD, ActiveSecAdr+FLASH_NEW_CONTRDATA, ContrData);
      HAL_FLASH_Program(FLASH_TYPEPROGRAM_WORD, ActiveSecAdr+FLASH_NEW_MOTOTIME1, MotoTime1);
      HAL_FLASH_Program(FLASH_TYPEPROGRAM_WORD, ActiveSecAdr+FLASH_NEW_MOTOTIME2, MotoTime2);
      HAL_FLASH_Program(FLASH_TYPEPROGRAM_WORD, ActiveSecAdr+FLASH_NEW_OPERTIME,  OperTime);
      HAL_FLASH_Lock();
      WriteTimeEn=0;
      //usRegInputBuf[REG_INPUT_STATUS]|=(1<<11);//Debug bit NewWrite
      //usRegInputBuf[REG_INPUT_STATUS]&=~(1<<10);
    }
    set_time(TIME_DEFFERWRITE,500);
    break;
  }

}
void TimeControlInit(void)
{
  uint8_t Ind;
  for(Ind=0;Ind<NumCount;Ind++) Counts[Ind]=0;
  flag_ovf=0;
  htim5.Init.Period = 100;
  htim5.Init.Prescaler = HAL_RCC_GetHCLKFreq()/10000;
  htim5.Init.ClockDivision = 0;
  htim5.Init.CounterMode = TIM_COUNTERMODE_DOWN;
  HAL_TIM_Base_Init(&htim5);
  __HAL_TIM_ENABLE_IT(&htim5,TIM_IT_UPDATE);
  __HAL_TIM_ENABLE(&htim5);
}

void HAL_TIM_PeriodElapsedCallback(TIM_HandleTypeDef *htim)
{
  for(uint8_t temp=0;temp<NumCount;temp++)
   if(Counts[temp]>0)
   {if(Counts[temp]==1)
     flag_ovf|=(1<<temp);
    Counts[temp]--;
   }
  if(time_ovf(TIME_LED)){
    clear_ovf(TIME_LED);
    LedON();
  }
}

void DMAADC_Init(void)
{
  hdma_adc1.Instance = DMA2_Stream0;

  hdma_adc1.Init.Channel  = DMA_CHANNEL_0;
  hdma_adc1.Init.Direction = DMA_PERIPH_TO_MEMORY;
  hdma_adc1.Init.PeriphInc = DMA_PINC_DISABLE;
  hdma_adc1.Init.MemInc = DMA_MINC_ENABLE;
  hdma_adc1.Init.PeriphDataAlignment = DMA_PDATAALIGN_HALFWORD;
  hdma_adc1.Init.MemDataAlignment = DMA_MDATAALIGN_HALFWORD;
  hdma_adc1.Init.Mode = DMA_CIRCULAR;
  hdma_adc1.Init.Priority = DMA_PRIORITY_HIGH;
  hdma_adc1.Init.FIFOMode = DMA_FIFOMODE_DISABLE;
  hdma_adc1.Init.FIFOThreshold = DMA_FIFO_THRESHOLD_HALFFULL;
  hdma_adc1.Init.MemBurst = DMA_MBURST_SINGLE;
  hdma_adc1.Init.PeriphBurst = DMA_PBURST_SINGLE;

  HAL_DMA_Init(&hdma_adc1);
  __HAL_LINKDMA(&hadc1, DMA_Handle, hdma_adc1);

}

uint16_t Filter (uint16_t unfiltered,uint16_t CHFilter)
{
 uint16_t result_filter;
 X[CHFilter][2]=X[CHFilter][1];
 X[CHFilter][1]=X[CHFilter][0];
 X[CHFilter][0]=unfiltered;

 Y[CHFilter][2]=Y[CHFilter][1];
 Y[CHFilter][1]=Y[CHFilter][0];
 float result;
 result=0.007247f*X[CHFilter][1]+0.003624f*(X[CHFilter][0]+X[CHFilter][2]);
 result-=(0.837180f*Y[CHFilter][2]-1.822694f*Y[CHFilter][1]);
 result_filter=(uint16_t)result;
 if(result<0.0f)
   result_filter=0;
 //if(result_filter>4095)
 //  result_filter=4095;
 Y[CHFilter][0]=result;
 return result_filter;
}

/* USER CODE END 4 */

void Error_Handler(void)
{
  while(1)
  {
  }
}

/************************ (C) COPYRIGHT STMicroelectronics *****END OF FILE****/
